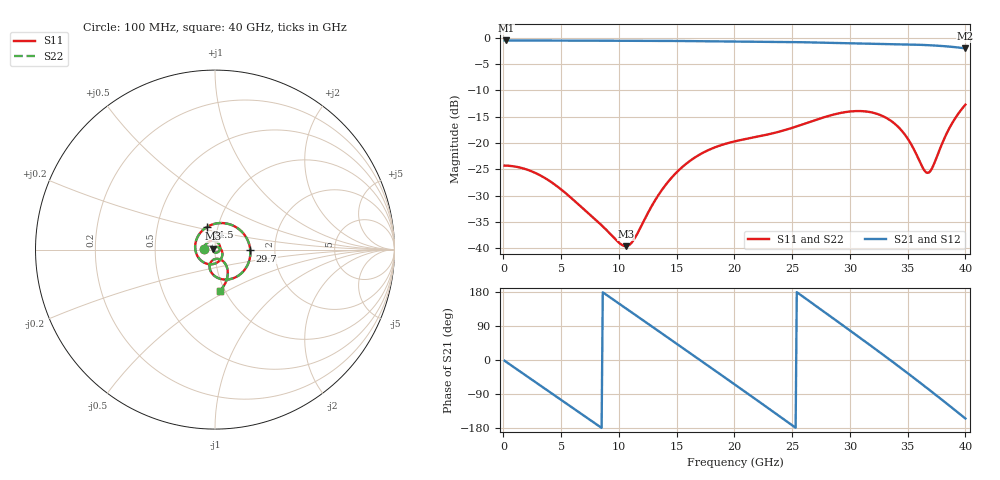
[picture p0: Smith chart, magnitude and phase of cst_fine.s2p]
! C_s8_ap1000: L1→L8, antipad Ø1 on every plane
! stackup: 8-layer 1.6 mm FR-4 (generic)
! ports: 1, 2
! CST Studio Suite 2025.5 Release from 2025-05-30, time domain (FIT, hexahedral, PBA), 386496 mesh cells, 71 s
! mesh: {'lpw': 30.0, 'lpb': 30.0, 'minstep': 0.0, 'ratio': 20}; ports: port 1 (face); port 2 (face)
! interpolated from CST's 1001 samples to the case grid
# Hz S RI R 50
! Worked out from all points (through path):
!   400 points, 100 MHz to 40 GHz, reference 50 ohm
!   highest |S21| = -0.55 dB at 200 MHz (marker M1); lowest = -2.0 dB at 40 GHz (marker M2)
!   group delay of S21, straight-line fit = 60.2 ps
!   lowest |S11| = -39.6 dB at 10.6 GHz (marker M3), VSWR 1.02, Z = 49.1 + j0.454 ohm
!   |S11| at or under -10 dB: start of sweep to end of sweep
!   |S22| runs from -39.6 to -12.7 dB; largest |S21 - S12| = 3.2e-07
!   S11 on the Smith chart (normalised r, x): 100 MHz: 0.89, +0.00; 24.5 GHz: 0.89, +0.23; 29.7 GHz: 1.49, -0.01; 40 GHz: 0.95, -0.46
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1e8  -0.0609 0.00261  0.9384 -0.0346  0.9384 -0.0346  -0.0609 0.00261
2e8  -0.0607 0.00522  0.9365 -0.0691  0.9365 -0.0691  -0.0607 0.00522
1.8e9  -0.0405 0.04  0.7397 -0.5776  0.7397 -0.5776  -0.0405 0.04
3.7e9  0.00407 0.0455  0.1941 -0.9166  0.1941 -0.9166  0.00407 0.0455
5.2e9  0.0267 0.0222  -0.3146 -0.8813  -0.3146 -0.8813  0.0267 0.0222
6.8e9  0.0233 -0.00707  -0.75 -0.5579  -0.75 -0.5579  0.0233 -0.00708
8.7e9  -0.00181 -0.0156  -0.9324 0.056  -0.9324 0.056  -0.00182 -0.0156
1.06e10  -0.00939 0.00463  -0.6757 0.6443  -0.6757 0.6443  -0.00939 0.00463
1.34e10  0.0315 0.00383  0.2109 0.9069  0.2109 0.9069  0.0315 0.00384
1.68e10  0.00673 -0.075  0.9221 0.0723  0.9221 0.0723  0.00674 -0.075
1.84e10  -0.0482 -0.0779  0.8009 -0.4566  0.8009 -0.4566  -0.0482 -0.0779
2.01e10  -0.097 -0.0373  0.3721 -0.8403  0.3721 -0.8403  -0.097 -0.0374
2.22e10  -0.1067 0.0452  -0.3337 -0.8523  -0.3337 -0.8523  -0.1067 0.0452
2.45e10  -0.0451 0.1259  -0.8612 -0.2907  -0.8612 -0.2907  -0.0451 0.1259
2.67e10  0.0716 0.1437  -0.7831 0.4422  -0.7831 0.4422  0.0716 0.1437
2.97e10  0.1967 -0.00463  0.0833 0.8792  0.0833 0.8792  0.1967 -0.00462
3.18e10  0.1346 -0.1421  0.6886 0.5377  0.6886 0.5377  0.1346 -0.1421
3.34e10  0.0311 -0.1634  0.8673 0.0297  0.8673 0.0297  0.0311 -0.1634
3.5e10  -0.0291 -0.1061  0.7075 -0.4905  0.7075 -0.4905  -0.0291 -0.1061
3.69e10  0.0135 -0.0513  0.1565 -0.8313  0.1565 -0.8313  0.0135 -0.0513
3.83e10  0.0662 -0.0976  -0.3218 -0.7614  -0.3218 -0.7614  0.0662 -0.0976
4e10  0.028 -0.2289  -0.7123 -0.3424  -0.7123 -0.3424  0.028 -0.2289
